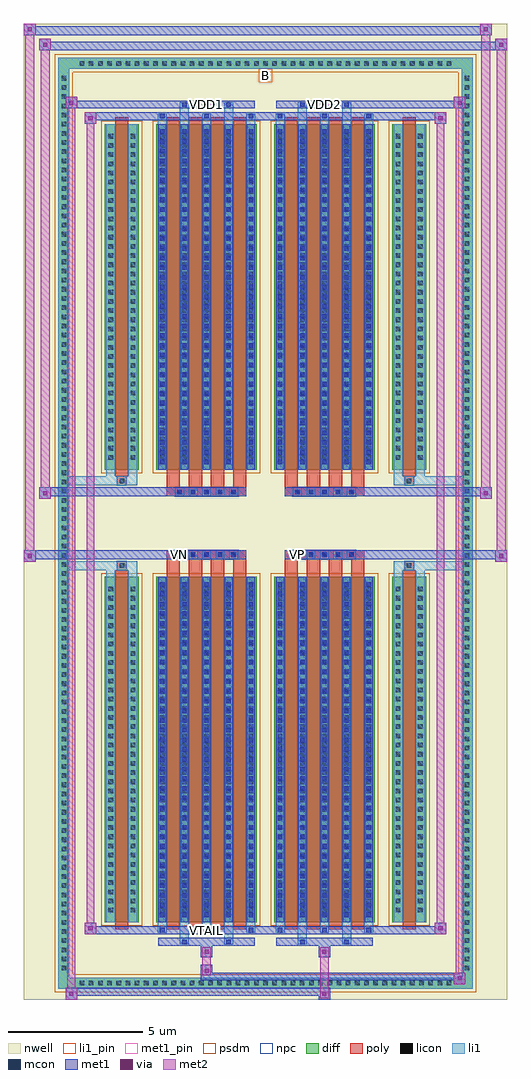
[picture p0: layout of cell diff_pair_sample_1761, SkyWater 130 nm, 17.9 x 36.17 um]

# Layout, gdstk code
import gdstk
lib = gdstk.Library(unit=1e-6, precision=5e-09)
def R(c, l, rs):  # rectangles x0, y0, x1, y1
    for r in rs: c.add(gdstk.rectangle(r[:2], r[2:], *l))
def A(c, l, x, y, w, h, nx, ny, dx, dy):  # array of equal rectangles
    R(c, l, [(x+i*dx, y+j*dy, x+i*dx+w, y+j*dy+h) for i in range(nx) for j in range(ny)])
def P(c, l, *ps):  # polygons
    for p in ps: c.add(gdstk.Polygon(p, *l))
nwell = (64, 20)
diff = (65, 20)
poly = (66, 20)
licon = (66, 44)
li1_pin = (67, 16)
li1 = (67, 20)
mcon = (67, 44)
met1_pin = (68, 16)
met1 = (68, 20)
via = (68, 44)
met2 = (69, 20)
psdm = (94, 20)
npc = (95, 20)

diff_pair_sample_1761 = lib.new_cell('diff_pair_sample_1761')
R(diff_pair_sample_1761, nwell, [(-8.95,-17.65,8.95,18.52), (-6.27,-15.84,-0.01,-0.8), (0.01,-15.84,6.27,-0.8), (-6.27,0.8,-0.01,15.84), (0.01,0.8,6.27,15.84)])
A(diff_pair_sample_1761, diff, -7.005, -17.25, 0.41, 0.41, 41, 2, 0.34, 34.09)
A(diff_pair_sample_1761, diff, -7.68, -16.695, 0.41, 0.41, 1, 98, 0, 0.34)
A(diff_pair_sample_1761, diff, 7.27, -16.695, 0.41, 0.41, 1, 98, 0, 0.34)
R(diff_pair_sample_1761, diff, [(-7.005,-17.25,7.005,-16.84), (-7.68,-16.695,-7.27,16.695), (7.27,-16.695,7.68,16.695), (-5.96,-14.795,-4.69,-1.985), (-4.05,-14.795,-0.32,-1.985), (0.32,-14.795,4.05,-1.985), (4.69,-14.795,5.96,-1.985), (-5.96,1.985,-4.69,14.795), (-4.05,1.985,-0.32,14.795), (0.32,1.985,4.05,14.795), (4.69,1.985,5.96,14.795), (-7.005,16.84,7.005,17.25)])
P(diff_pair_sample_1761, diff, [(7.68,17.25),(-7.68,17.25),(-7.68,-16.84),(-7.27,-16.84),(-7.27,16.84),(7.27,16.84),(7.27,-16.84),(-7.27,-16.84),(-7.68,-16.84),(-7.68,-17.25),(7.68,-17.25)])
A(diff_pair_sample_1761, poly, -3.66, -15.045, 0.49, 13.31, 4, 2, 0.82, 16.78)
A(diff_pair_sample_1761, poly, 0.71, -15.045, 0.49, 13.31, 4, 2, 0.82, 16.78)
A(diff_pair_sample_1761, poly, -3.66, -1.735, 0.49, 0.405, 4, 2, 0.82, 3.065)
A(diff_pair_sample_1761, poly, 0.71, -1.735, 0.49, 0.405, 4, 2, 0.82, 3.065)
A(diff_pair_sample_1761, poly, -3.35, -1.33, 0.33, 0.33, 5, 2, 0.5, 2.33)
A(diff_pair_sample_1761, poly, 1.02, -1.33, 0.33, 0.33, 5, 2, 0.5, 2.33)
R(diff_pair_sample_1761, poly, [(-5.57,-15.045,-5.08,-1.735), (5.08,-15.045,5.57,-1.735), (-5.49,-1.735,-5.16,-1.405), (-5.49,-1.735,-5.16,-1.405), (5.16,-1.735,5.49,-1.405), (5.16,-1.735,5.49,-1.405), (-3.66,-1.33,-0.71,-1), (0.71,-1.33,3.66,-1), (-3.66,1,-0.71,1.33), (0.71,1,3.66,1.33), (-5.49,1.405,-5.16,1.735), (-5.49,1.405,-5.16,1.735), (5.16,1.405,5.49,1.735), (5.16,1.405,5.49,1.735), (-5.57,1.735,-5.08,15.045), (5.08,1.735,5.57,15.045)])
A(diff_pair_sample_1761, licon, -6.885, -17.13, 0.17, 0.17, 41, 2, 0.34, 34.09)
A(diff_pair_sample_1761, licon, -7.56, -16.575, 0.17, 0.17, 1, 98, 0, 0.34)
A(diff_pair_sample_1761, licon, 7.39, -16.575, 0.17, 0.17, 1, 98, 0, 0.34)
A(diff_pair_sample_1761, licon, -5.82, -14.425, 0.17, 0.17, 1, 36, 0, 0.34)
A(diff_pair_sample_1761, licon, -5, -14.425, 0.17, 0.17, 1, 36, 0, 0.34)
A(diff_pair_sample_1761, licon, -3.91, -14.425, 0.17, 0.17, 5, 36, 0.82, 0.34)
A(diff_pair_sample_1761, licon, 0.46, -14.425, 0.17, 0.17, 5, 36, 0.82, 0.34)
A(diff_pair_sample_1761, licon, 4.83, -14.425, 0.17, 0.17, 1, 36, 0, 0.34)
A(diff_pair_sample_1761, licon, 5.65, -14.425, 0.17, 0.17, 1, 36, 0, 0.34)
A(diff_pair_sample_1761, licon, -3.27, -1.25, 0.17, 0.17, 5, 2, 0.5, 2.33)
A(diff_pair_sample_1761, licon, 1.1, -1.25, 0.17, 0.17, 5, 2, 0.5, 2.33)
A(diff_pair_sample_1761, licon, -5.82, 2.355, 0.17, 0.17, 1, 36, 0, 0.34)
A(diff_pair_sample_1761, licon, -5, 2.355, 0.17, 0.17, 1, 36, 0, 0.34)
A(diff_pair_sample_1761, licon, -3.91, 2.355, 0.17, 0.17, 5, 36, 0.82, 0.34)
A(diff_pair_sample_1761, licon, 0.46, 2.355, 0.17, 0.17, 5, 36, 0.82, 0.34)
A(diff_pair_sample_1761, licon, 4.83, 2.355, 0.17, 0.17, 1, 36, 0, 0.34)
A(diff_pair_sample_1761, licon, 5.65, 2.355, 0.17, 0.17, 1, 36, 0, 0.34)
R(diff_pair_sample_1761, licon, [(-5.41,-1.655,-5.24,-1.485), (5.24,-1.655,5.41,-1.485), (-5.41,1.485,-5.24,1.655), (5.24,1.485,5.41,1.655)])
R(diff_pair_sample_1761, li1_pin, [(-0.25,16.34,0.25,16.84)])
A(diff_pair_sample_1761, li1, -6.965, -17.21, 0.33, 0.33, 41, 2, 0.34, 34.09)
A(diff_pair_sample_1761, li1, -7.64, -16.655, 0.33, 0.33, 1, 98, 0, 0.34)
A(diff_pair_sample_1761, li1, 7.31, -16.655, 0.33, 0.33, 1, 98, 0, 0.34)
A(diff_pair_sample_1761, li1, -3.99, -15.17, 0.33, 0.375, 3, 2, 1.64, 29.965)
A(diff_pair_sample_1761, li1, -3.91, -15.17, 0.17, 0.17, 3, 2, 1.64, 30.17)
A(diff_pair_sample_1761, li1, 0.38, -15.17, 0.33, 0.375, 3, 2, 1.64, 29.965)
A(diff_pair_sample_1761, li1, 0.46, -15.17, 0.17, 0.17, 3, 2, 1.64, 30.17)
A(diff_pair_sample_1761, li1, -3.99, -14.795, 0.33, 12.81, 5, 2, 0.82, 16.78)
A(diff_pair_sample_1761, li1, 0.38, -14.795, 0.33, 12.81, 5, 2, 0.82, 16.78)
A(diff_pair_sample_1761, li1, -3.91, -14.595, 0.17, 0.17, 5, 35, 0.82, 0.36)
A(diff_pair_sample_1761, li1, -3.91, -14.595, 0.17, 12.41, 5, 2, 0.82, 16.78)
A(diff_pair_sample_1761, li1, 0.46, -14.595, 0.17, 0.17, 5, 35, 0.82, 0.36)
A(diff_pair_sample_1761, li1, 0.46, -14.595, 0.17, 12.41, 5, 2, 0.82, 16.78)
A(diff_pair_sample_1761, li1, -5.9, -14.505, 0.33, 0.33, 1, 36, 0, 0.34)
A(diff_pair_sample_1761, li1, -5.08, -14.505, 0.33, 0.33, 1, 36, 0, 0.34)
A(diff_pair_sample_1761, li1, -3.99, -14.505, 0.33, 0.33, 5, 36, 0.82, 0.34)
A(diff_pair_sample_1761, li1, 0.38, -14.505, 0.33, 0.33, 5, 36, 0.82, 0.34)
A(diff_pair_sample_1761, li1, 4.75, -14.505, 0.33, 0.33, 1, 36, 0, 0.34)
A(diff_pair_sample_1761, li1, 5.57, -14.505, 0.33, 0.33, 1, 36, 0, 0.34)
A(diff_pair_sample_1761, li1, -3.35, -1.33, 0.33, 0.33, 5, 2, 0.5, 2.33)
A(diff_pair_sample_1761, li1, 1.02, -1.33, 0.33, 0.33, 5, 2, 0.5, 2.33)
A(diff_pair_sample_1761, li1, -3.91, 2.185, 0.17, 0.17, 5, 35, 0.82, 0.36)
A(diff_pair_sample_1761, li1, 0.46, 2.185, 0.17, 0.17, 5, 35, 0.82, 0.36)
A(diff_pair_sample_1761, li1, -5.9, 2.275, 0.33, 0.33, 1, 36, 0, 0.34)
A(diff_pair_sample_1761, li1, -5.08, 2.275, 0.33, 0.33, 1, 36, 0, 0.34)
A(diff_pair_sample_1761, li1, -3.99, 2.275, 0.33, 0.33, 5, 36, 0.82, 0.34)
A(diff_pair_sample_1761, li1, 0.38, 2.275, 0.33, 0.33, 5, 36, 0.82, 0.34)
A(diff_pair_sample_1761, li1, 4.75, 2.275, 0.33, 0.33, 1, 36, 0, 0.34)
A(diff_pair_sample_1761, li1, 5.57, 2.275, 0.33, 0.33, 1, 36, 0, 0.34)
R(diff_pair_sample_1761, li1, [(-7.68,-17.25,-7.27,-16.84), (-7.68,-17.25,-7.27,-16.84), (-7.27,-17.25,7.27,-16.84), (7.27,-17.25,7.68,-16.84), (7.27,-17.25,7.68,-16.84), (-7.68,-16.84,-7.27,16.84), (7.27,-16.84,7.68,16.84), (-3.17,-15.6,-2.84,-14.795), (-3.09,-15.6,-2.92,-15.43), (-1.53,-15.6,-1.2,-14.795), (-1.45,-15.6,-1.28,-15.43), (1.2,-15.6,1.53,-14.795), (1.28,-15.6,1.45,-15.43), (2.84,-15.6,3.17,-14.795), (2.92,-15.6,3.09,-15.43), (-5.9,-14.795,-5.57,-1.985), (-5.08,-14.795,-4.75,-1.985), (4.75,-14.795,5.08,-1.985), (5.57,-14.795,5.9,-1.985), (-5.9,-1.985,-5.57,-1.405), (-5.08,-1.985,-4.75,-1.405), (4.75,-1.985,5.08,-1.405), (5.57,-1.985,5.9,-1.405), (-7.68,-1.735,-5.49,-1.405), (-5.9,-1.735,-5.49,-1.405), (-5.49,-1.735,-5.16,-1.405), (-5.16,-1.735,-4.75,-1.405), (4.75,-1.735,5.16,-1.405), (5.16,-1.735,5.49,-1.405), (5.16,-1.735,7.68,-1.405), (5.49,-1.735,5.9,-1.405), (-7.68,1.405,-5.49,1.735), (-5.9,1.405,-5.49,1.735), (-5.9,1.405,-5.57,1.985), (-5.49,1.405,-5.16,1.735), (-5.16,1.405,-4.75,1.735), (-5.08,1.405,-4.75,1.985), (4.75,1.405,5.16,1.735), (4.75,1.405,5.08,1.985), (5.16,1.405,5.49,1.735), (5.16,1.405,7.68,1.735), (5.49,1.405,5.9,1.735), (5.57,1.405,5.9,1.985), (-5.9,1.985,-5.57,14.795), (-5.08,1.985,-4.75,14.795), (4.75,1.985,5.08,14.795), (5.57,1.985,5.9,14.795), (-3.17,14.795,-2.84,15.6), (-1.53,14.795,-1.2,15.6), (1.2,14.795,1.53,15.6), (2.84,14.795,3.17,15.6), (-3.09,15.43,-2.92,15.6), (-1.45,15.43,-1.28,15.6), (1.28,15.43,1.45,15.6), (2.92,15.43,3.09,15.6), (-7.68,16.84,-7.27,17.25), (-7.68,16.84,-7.27,17.25), (-7.27,16.84,7.27,17.25), (7.27,16.84,7.68,17.25), (7.27,16.84,7.68,17.25)])
A(diff_pair_sample_1761, mcon, -3.91, -15.17, 0.17, 0.17, 3, 2, 1.64, 30.17)
A(diff_pair_sample_1761, mcon, 0.46, -15.17, 0.17, 0.17, 3, 2, 1.64, 30.17)
A(diff_pair_sample_1761, mcon, -3.91, -14.595, 0.17, 0.17, 5, 35, 0.82, 0.36)
A(diff_pair_sample_1761, mcon, 0.46, -14.595, 0.17, 0.17, 5, 35, 0.82, 0.36)
A(diff_pair_sample_1761, mcon, -3.27, -1.25, 0.17, 0.17, 5, 2, 0.5, 2.33)
A(diff_pair_sample_1761, mcon, 1.1, -1.25, 0.17, 0.17, 5, 2, 0.5, 2.33)
A(diff_pair_sample_1761, mcon, -3.91, 2.185, 0.17, 0.17, 5, 35, 0.82, 0.36)
A(diff_pair_sample_1761, mcon, 0.46, 2.185, 0.17, 0.17, 5, 35, 0.82, 0.36)
R(diff_pair_sample_1761, mcon, [(-3.09,-15.6,-2.92,-15.43), (-1.45,-15.6,-1.28,-15.43), (1.28,-15.6,1.45,-15.43), (2.92,-15.6,3.09,-15.43), (-3.09,15.43,-2.92,15.6), (-1.45,15.43,-1.28,15.6), (1.28,15.43,1.45,15.6), (2.92,15.43,3.09,15.6)])
R(diff_pair_sample_1761, met1_pin, [(-2.32,-15.21,-2.05,-14.94), (-3.32,-1.29,-3.05,-1.02), (1.05,-1.29,1.32,-1.02), (-2.32,15.39,-2.05,15.66), (2.05,15.39,2.32,15.66)])
A(diff_pair_sample_1761, met1, -3.97, -15.23, 0.29, 0.29, 3, 2, 1.64, 30.17)
A(diff_pair_sample_1761, met1, 0.4, -15.23, 0.29, 0.29, 3, 2, 1.64, 30.17)
A(diff_pair_sample_1761, met1, -3.97, -14.795, 0.29, 12.81, 5, 2, 0.82, 16.78)
A(diff_pair_sample_1761, met1, 0.4, -14.795, 0.29, 12.81, 5, 2, 0.82, 16.78)
A(diff_pair_sample_1761, met1, -3.97, -14.655, 0.29, 0.29, 5, 35, 0.82, 0.36)
A(diff_pair_sample_1761, met1, 0.4, -14.655, 0.29, 0.29, 5, 35, 0.82, 0.36)
A(diff_pair_sample_1761, met1, -3.33, -1.31, 0.29, 0.29, 5, 2, 0.5, 2.33)
A(diff_pair_sample_1761, met1, 1.04, -1.31, 0.29, 0.29, 5, 2, 0.5, 2.33)
A(diff_pair_sample_1761, met1, -3.97, 2.125, 0.29, 0.29, 5, 35, 0.82, 0.36)
A(diff_pair_sample_1761, met1, 0.4, 2.125, 0.29, 0.29, 5, 35, 0.82, 0.36)
R(diff_pair_sample_1761, met1, [(-7.41,-17.65,-6.98,-17.22), (1.97,-17.65,2.4,-17.22), (-7.41,-17.51,2.4,-17.22), (6.98,-17.08,7.41,-16.65), (-2.4,-16.94,7.41,-16.65), (-2.4,-16.8,-1.97,-16.37), (-2.4,-16.09,-1.97,-15.66), (1.97,-16.09,2.4,-15.66), (-3.97,-15.66,-0.4,-15.37), (-3.15,-15.66,-2.86,-15.37), (-1.51,-15.66,-1.22,-15.37), (0.4,-15.66,3.97,-15.37), (1.22,-15.66,1.51,-15.37), (2.86,-15.66,3.15,-15.37), (-6.7,-15.23,-6.27,-14.8), (-6.7,-15.23,-3.97,-14.94), (-3.97,-15.23,-0.4,-14.94), (-0.4,-15.23,0.4,-14.94), (0.4,-15.23,3.97,-14.94), (3.97,-15.23,6.7,-14.94), (6.27,-15.23,6.7,-14.8), (-8.95,-1.43,-8.52,-1), (8.52,-1.43,8.95,-1), (-8.95,-1.33,-0.71,-1), (-3.66,-1.33,-0.71,-1), (0.71,-1.33,3.66,-1), (0.71,-1.33,8.95,-1), (-8.38,0.9,-7.95,1.33), (7.95,0.9,8.38,1.33), (-8.38,1,-3.66,1.33), (-3.66,1,-0.71,1.33), (0.71,1,3.66,1.33), (3.66,1,8.38,1.33), (-6.7,14.8,-6.27,15.23), (6.27,14.8,6.7,15.23), (-6.7,14.94,-3.97,15.23), (-3.97,14.94,-0.4,15.23), (-0.4,14.94,0.4,15.23), (0.4,14.94,3.97,15.23), (3.97,14.94,6.7,15.23), (-7.41,15.37,-6.98,15.8), (-7.41,15.37,-3.97,15.66), (-3.97,15.37,-0.4,15.66), (-3.15,15.37,-2.86,15.66), (-1.51,15.37,-1.22,15.66), (0.4,15.37,3.97,15.66), (1.22,15.37,1.51,15.66), (2.86,15.37,3.15,15.66), (3.97,15.37,7.41,15.66), (6.98,15.37,7.41,15.8), (-8.38,17.52,-7.95,17.95), (-8.38,17.52,-6.27,17.85), (-6.27,17.52,6.27,17.85), (6.27,17.52,8.95,17.85), (8.52,17.52,8.95,17.95), (-8.95,18.09,-8.52,18.52), (-8.95,18.09,-6.27,18.42), (-6.27,18.09,6.27,18.42), (6.27,18.09,8.38,18.42), (7.95,18.09,8.38,18.52)])
R(diff_pair_sample_1761, via, [(-7.27,-17.51,-7.12,-17.36), (2.11,-17.51,2.26,-17.36), (7.12,-16.94,7.27,-16.79), (-2.26,-16.66,-2.11,-16.51), (-2.26,-15.95,-2.11,-15.8), (2.11,-15.95,2.26,-15.8), (-6.56,-15.09,-6.41,-14.94), (6.41,-15.09,6.56,-14.94), (-8.81,-1.29,-8.66,-1.14), (8.66,-1.29,8.81,-1.14), (-8.24,1.04,-8.09,1.19), (8.09,1.04,8.24,1.19), (-6.56,14.94,-6.41,15.09), (6.41,14.94,6.56,15.09), (-7.27,15.51,-7.12,15.66), (7.12,15.51,7.27,15.66), (-8.24,17.66,-8.09,17.81), (8.66,17.66,8.81,17.81), (-8.81,18.23,-8.66,18.38), (8.09,18.23,8.24,18.38)])
R(diff_pair_sample_1761, met2, [(-7.41,-17.65,-6.98,-17.22), (-7.34,-17.65,-7.05,15.8), (-7.05,-17.65,-6.98,-17.22), (-7.36,-17.6,-7.03,-17.27), (2.02,-17.6,2.35,-17.27), (2.02,-17.27,2.35,-16.04), (6.98,-17.08,7.41,-16.65), (7.05,-17.08,7.34,15.8), (7.34,-17.08,7.41,-16.65), (7.03,-17.03,7.36,-16.7), (-2.35,-16.75,-2.02,-16.42), (-2.35,-16.42,-2.02,-16.04), (-2.35,-16.04,-2.02,-15.71), (2.02,-16.04,2.35,-15.71), (-6.7,-15.23,-6.27,-14.8), (-6.63,-15.23,-6.34,15.23), (-6.34,-15.23,-6.27,-14.8), (6.27,-15.23,6.7,-14.8), (6.34,-15.23,6.63,15.23), (6.63,-15.23,6.7,-14.8), (-6.65,-15.18,-6.32,-14.85), (6.32,-15.18,6.65,-14.85), (-8.95,-1.43,-8.52,-1), (-8.9,-1.43,-8.57,18.52), (-8.57,-1.43,-8.52,-1), (8.52,-1.43,8.95,-1), (8.57,-1.43,8.9,17.95), (8.9,-1.43,8.95,-1), (-8.9,-1.38,-8.57,-1.05), (8.57,-1.38,8.9,-1.05), (-8.38,0.9,-7.95,1.33), (-8.33,0.9,-8,17.95), (-8,0.9,-7.95,1.33), (7.95,0.9,8.38,1.33), (8,0.9,8.33,18.52), (8.33,0.9,8.38,1.33), (-8.33,0.95,-8,1.28), (8,0.95,8.33,1.28), (-6.7,14.8,-6.27,15.23), (-6.34,14.8,-6.27,15.23), (6.27,14.8,6.7,15.23), (6.63,14.8,6.7,15.23), (-6.65,14.85,-6.32,15.18), (6.32,14.85,6.65,15.18), (-7.41,15.37,-6.98,15.8), (-7.05,15.37,-6.98,15.8), (6.98,15.37,7.41,15.8), (7.34,15.37,7.41,15.8), (-7.36,15.42,-7.03,15.75), (7.03,15.42,7.36,15.75), (-8.38,17.52,-7.95,17.95), (-8,17.52,-7.95,17.95), (8.52,17.52,8.95,17.95), (8.9,17.52,8.95,17.95), (-8.33,17.57,-8,17.9), (8.57,17.57,8.9,17.9), (-8.95,18.09,-8.52,18.52), (-8.57,18.09,-8.52,18.52), (7.95,18.09,8.38,18.52), (8.33,18.09,8.38,18.52), (-8.9,18.14,-8.57,18.47), (8,18.14,8.33,18.47)])
R(diff_pair_sample_1761, psdm, [(-6.09,-14.925,-4.56,-1.855), (-4.18,-14.925,-0.19,-1.855), (0.19,-14.925,4.18,-1.855), (4.56,-14.925,6.09,-1.855), (-6.09,1.855,-4.56,14.925), (-4.18,1.855,-0.19,14.925), (0.19,1.855,4.18,14.925), (4.56,1.855,6.09,14.925)])
P(diff_pair_sample_1761, psdm, [(7.81,17.38),(-7.81,17.38),(-7.81,-16.71),(-7.14,-16.71),(-7.14,16.71),(7.14,16.71),(7.14,-16.71),(-7.14,-16.71),(-7.81,-16.71),(-7.81,-17.38),(7.81,-17.38)])
A(diff_pair_sample_1761, npc, -3.37, -1.35, 0.37, 0.37, 5, 2, 0.5, 2.33)
A(diff_pair_sample_1761, npc, 1, -1.35, 0.37, 0.37, 5, 2, 0.5, 2.33)
R(diff_pair_sample_1761, npc, [(-5.51,-1.755,-5.14,-1.385), (5.14,-1.755,5.51,-1.385), (-3.37,-1.35,-2.5,-0.98), (-3.37,-1.35,-2.5,-0.98), (-2.87,-1.35,-2,-0.98), (-2.87,-1.35,-2,-0.98), (-2.37,-1.35,-1.5,-0.98), (-2.37,-1.35,-1.5,-0.98), (-1.87,-1.35,-1,-0.98), (-1.87,-1.35,-1,-0.98), (1,-1.35,1.87,-0.98), (1,-1.35,1.87,-0.98), (1.5,-1.35,2.37,-0.98), (1.5,-1.35,2.37,-0.98), (2,-1.35,2.87,-0.98), (2,-1.35,2.87,-0.98), (2.5,-1.35,3.37,-0.98), (2.5,-1.35,3.37,-0.98), (-3.37,0.98,-2.5,1.35), (-3.37,0.98,-2.5,1.35), (-2.87,0.98,-2,1.35), (-2.87,0.98,-2,1.35), (-2.37,0.98,-1.5,1.35), (-2.37,0.98,-1.5,1.35), (-1.87,0.98,-1,1.35), (-1.87,0.98,-1,1.35), (1,0.98,1.87,1.35), (1,0.98,1.87,1.35), (1.5,0.98,2.37,1.35), (1.5,0.98,2.37,1.35), (2,0.98,2.87,1.35), (2,0.98,2.87,1.35), (2.5,0.98,3.37,1.35), (2.5,0.98,3.37,1.35), (-5.51,1.385,-5.14,1.755), (5.14,1.385,5.51,1.755)])
diff_pair_sample_1761.add(gdstk.Label('VTAIL', (-2.185,-15.075), layer=68, texttype=5))
diff_pair_sample_1761.add(gdstk.Label('VN', (-3.185,-1.155), layer=68, texttype=5))
diff_pair_sample_1761.add(gdstk.Label('VP', (1.185,-1.155), layer=68, texttype=5))
diff_pair_sample_1761.add(gdstk.Label('B', (0,16.59), layer=67, texttype=5))
diff_pair_sample_1761.add(gdstk.Label('VDD2', (2.185,15.525), layer=68, texttype=5))
diff_pair_sample_1761.add(gdstk.Label('VDD1', (-2.185,15.525), layer=68, texttype=5))

lib.write_gds('diff_pair_sample_1761.gds')
